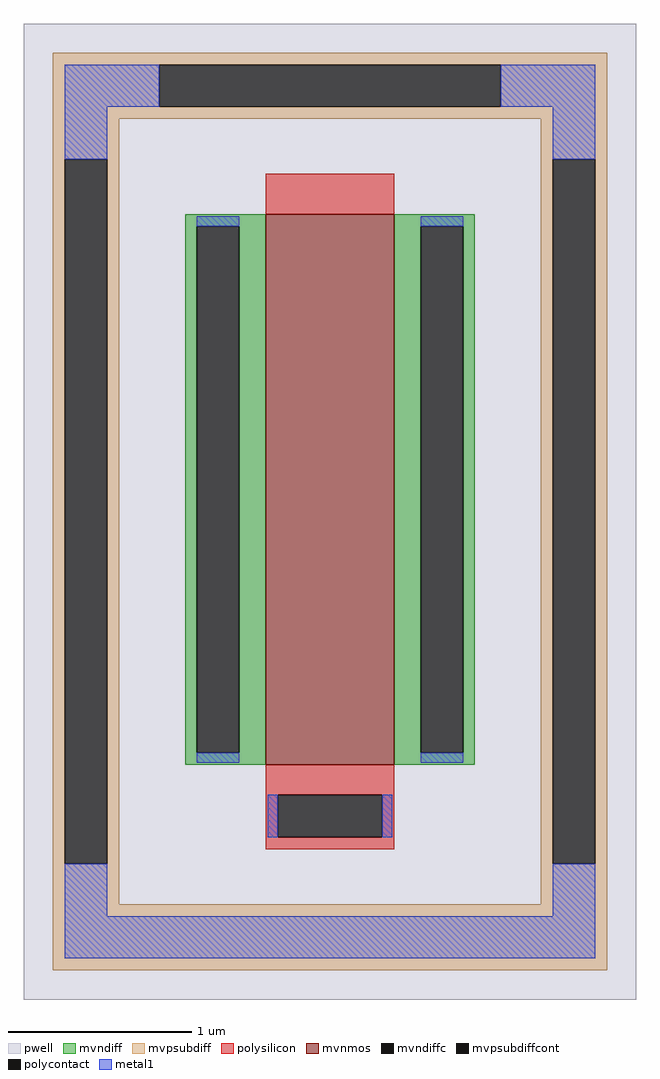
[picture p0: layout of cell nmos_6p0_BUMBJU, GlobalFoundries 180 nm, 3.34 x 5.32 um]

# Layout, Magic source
magic
tech gf180mcuD
magscale 1 10
<< pwell >>
rect -334 -532 334 532
<< mvnmos >>
rect -70 -276 70 324
<< mvndiff >>
rect -158 311 -70 324
rect -158 -263 -145 311
rect -99 -263 -70 311
rect -158 -276 -70 -263
rect 70 311 158 324
rect 70 -263 99 311
rect 145 -263 158 311
rect 70 -276 158 -263
<< mvndiffc >>
rect -145 -263 -99 311
rect 99 -263 145 311
<< mvpsubdiff >>
rect -302 487 302 500
rect -302 441 -186 487
rect 186 441 302 487
rect -302 428 302 441
rect -302 384 -230 428
rect -302 -384 -289 384
rect -243 -384 -230 384
rect 230 384 302 428
rect -302 -428 -230 -384
rect 230 -384 243 384
rect 289 -384 302 384
rect 230 -428 302 -384
rect -302 -500 302 -428
<< mvpsubdiffcont >>
rect -186 441 186 487
rect -289 -384 -243 384
rect 243 -384 289 384
<< polysilicon >>
rect -70 324 70 368
rect -70 -309 70 -276
rect -70 -355 -57 -309
rect 57 -355 70 -309
rect -70 -368 70 -355
<< polycontact >>
rect -57 -355 57 -309
<< metal1 >>
rect -289 441 -186 487
rect 186 441 289 487
rect -289 384 -243 441
rect 243 384 289 441
rect -145 311 -99 322
rect -145 -274 -99 -263
rect 99 311 145 322
rect 99 -274 145 -263
rect -68 -355 -57 -309
rect 57 -355 68 -309
rect -289 -441 -243 -384
rect 243 -441 289 -384
rect -289 -487 289 -441
<< properties >>
string FIXED_BBOX -266 -464 266 464
string gencell nmos_6p0
string library gf180mcu
string parameters w 3.0 l 0.7 m 1 nf 1 diffcov 100 polycov 100 guard 1 glc 1 grc 1 gtc 1 gbc 0 tbcov 100 rlcov 100 topc 0 botc 1 poverlap 0 doverlap 1 lmin 0.6 wmin 0.3 full_metal 1 compatible {nmos_3p3 nmos_6p0 nmos_6p0_nat}
<< end >>
